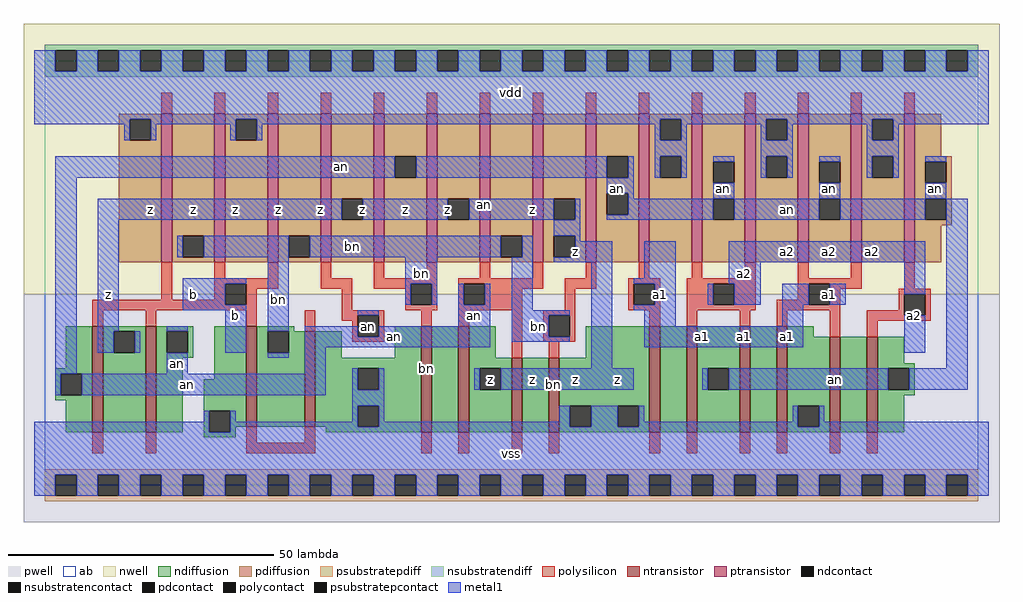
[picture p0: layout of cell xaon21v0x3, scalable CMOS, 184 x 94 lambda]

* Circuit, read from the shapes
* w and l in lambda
.subckt xaon21v0x3 a1 a2 an b bn vdd vss z
M1 z b an vss nfet w=20 l=2 m=2
M2 bn b vss vss nfet w=19 l=2
M3 vss b bn vss nfet w=18 l=2
M4 n1 bn vss vss nfet w=20 l=2
M5 z an n1 vss nfet w=20 l=2
M6 n2 an z vss nfet w=14 l=2
M7 vss bn n2 vss nfet w=14 l=2
M8 n3 a1 vss vss nfet w=20 l=2
M9 an a2 n3 vss nfet w=20 l=2
M10 n4 a2 an vss nfet w=20 l=2
M11 vss a1 n4 vss nfet w=20 l=2
M12 n5 a1 vss vss nfet w=18 l=2
M13 an a2 n5 vss nfet w=18 l=2
M14 bn b vdd vdd pfet w=28 l=2 m=3
M15 z an bn vdd pfet w=28 l=2 m=3
M16 an bn z vdd pfet w=28 l=2 m=3
M17 vdd a1 an vdd pfet w=28 l=2 m=3
M18 an a2 vdd vdd pfet w=28 l=2 m=3
.ends

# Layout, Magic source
magic
tech scmos
<< ab >>
rect 0 0 176 80
<< pwell >>
rect -4 -7 180 36
<< nwell >>
rect -4 36 180 87
<< polysilicon >>
rect 22 70 24 74
rect 32 70 34 74
rect 42 70 44 74
rect 52 70 54 74
rect 62 70 64 74
rect 72 70 74 74
rect 82 70 84 74
rect 92 70 94 74
rect 102 70 104 74
rect 112 70 114 74
rect 122 70 124 74
rect 132 70 134 74
rect 142 70 144 74
rect 152 70 154 74
rect 162 70 164 74
rect 22 35 24 42
rect 32 39 34 42
rect 42 39 44 42
rect 32 38 44 39
rect 32 35 34 38
rect 9 34 34 35
rect 38 37 44 38
rect 52 39 54 42
rect 62 39 64 42
rect 72 39 74 42
rect 82 39 84 42
rect 92 39 94 42
rect 102 39 104 42
rect 112 39 114 42
rect 122 39 124 42
rect 132 39 134 42
rect 52 37 58 39
rect 62 38 74 39
rect 62 37 69 38
rect 38 34 40 37
rect 9 33 40 34
rect 56 33 58 37
rect 68 34 69 37
rect 73 34 74 38
rect 68 33 74 34
rect 78 38 94 39
rect 78 34 79 38
rect 83 37 94 38
rect 98 37 104 39
rect 110 38 116 39
rect 83 34 90 37
rect 78 33 90 34
rect 98 33 100 37
rect 110 34 111 38
rect 115 34 116 38
rect 110 33 116 34
rect 9 30 11 33
rect 19 30 21 33
rect 38 30 40 33
rect 49 29 51 33
rect 56 32 64 33
rect 56 31 59 32
rect 58 28 59 31
rect 63 28 64 32
rect 71 30 73 33
rect 78 30 80 33
rect 58 27 64 28
rect 9 6 11 10
rect 19 6 21 10
rect 38 8 40 11
rect 49 8 51 11
rect 88 24 90 33
rect 94 32 100 33
rect 94 28 95 32
rect 99 28 100 32
rect 114 30 116 33
rect 121 38 134 39
rect 121 34 126 38
rect 130 34 134 38
rect 142 39 144 42
rect 152 39 154 42
rect 142 38 154 39
rect 142 35 144 38
rect 121 33 134 34
rect 138 34 144 35
rect 148 37 154 38
rect 162 37 164 42
rect 148 34 150 37
rect 138 33 150 34
rect 161 36 167 37
rect 161 33 162 36
rect 121 30 123 33
rect 131 30 133 33
rect 138 30 140 33
rect 94 27 100 28
rect 95 24 97 27
rect 148 28 150 33
rect 155 32 162 33
rect 166 32 167 36
rect 155 31 167 32
rect 155 28 157 31
rect 38 6 51 8
rect 71 6 73 10
rect 78 6 80 10
rect 88 6 90 10
rect 95 6 97 10
rect 114 6 116 10
rect 121 6 123 10
rect 131 6 133 10
rect 138 6 140 10
rect 148 6 150 10
rect 155 6 157 10
<< ndiffusion >>
rect 4 22 9 30
rect 2 21 9 22
rect 2 17 3 21
rect 7 17 9 21
rect 2 16 9 17
rect 4 10 9 16
rect 11 29 19 30
rect 11 25 13 29
rect 17 25 19 29
rect 11 10 19 25
rect 21 29 28 30
rect 21 25 23 29
rect 27 25 28 29
rect 21 24 28 25
rect 21 10 26 24
rect 32 20 38 30
rect 30 14 38 20
rect 30 10 31 14
rect 35 11 38 14
rect 40 29 47 30
rect 40 25 42 29
rect 46 25 49 29
rect 40 11 49 25
rect 51 24 56 29
rect 66 24 71 30
rect 51 22 71 24
rect 51 18 59 22
rect 63 18 71 22
rect 51 15 71 18
rect 51 11 59 15
rect 63 11 71 15
rect 35 10 36 11
rect 30 9 36 10
rect 53 10 71 11
rect 73 10 78 30
rect 80 24 85 30
rect 102 24 114 30
rect 80 22 88 24
rect 80 18 82 22
rect 86 18 88 22
rect 80 10 88 18
rect 90 10 95 24
rect 97 15 114 24
rect 97 11 99 15
rect 103 11 108 15
rect 112 11 114 15
rect 97 10 114 11
rect 116 10 121 30
rect 123 22 131 30
rect 123 18 125 22
rect 129 18 131 22
rect 123 10 131 18
rect 133 10 138 30
rect 140 28 145 30
rect 140 15 148 28
rect 140 11 142 15
rect 146 11 148 15
rect 140 10 148 11
rect 150 10 155 28
rect 157 23 162 28
rect 157 22 164 23
rect 157 18 159 22
rect 163 18 164 22
rect 157 17 164 18
rect 157 10 162 17
<< pdiffusion >>
rect 14 69 22 70
rect 14 65 16 69
rect 20 65 22 69
rect 14 42 22 65
rect 24 47 32 70
rect 24 43 26 47
rect 30 43 32 47
rect 24 42 32 43
rect 34 69 42 70
rect 34 65 36 69
rect 40 65 42 69
rect 34 42 42 65
rect 44 47 52 70
rect 44 43 46 47
rect 50 43 52 47
rect 44 42 52 43
rect 54 54 62 70
rect 54 50 56 54
rect 60 50 62 54
rect 54 42 62 50
rect 64 62 72 70
rect 64 58 66 62
rect 70 58 72 62
rect 64 42 72 58
rect 74 54 82 70
rect 74 50 76 54
rect 80 50 82 54
rect 74 42 82 50
rect 84 47 92 70
rect 84 43 86 47
rect 90 43 92 47
rect 84 42 92 43
rect 94 54 102 70
rect 94 50 96 54
rect 100 50 102 54
rect 94 47 102 50
rect 94 43 96 47
rect 100 43 102 47
rect 94 42 102 43
rect 104 62 112 70
rect 104 58 106 62
rect 110 58 112 62
rect 104 55 112 58
rect 104 51 106 55
rect 110 51 112 55
rect 104 42 112 51
rect 114 69 122 70
rect 114 65 116 69
rect 120 65 122 69
rect 114 62 122 65
rect 114 58 116 62
rect 120 58 122 62
rect 114 42 122 58
rect 124 61 132 70
rect 124 57 126 61
rect 130 57 132 61
rect 124 54 132 57
rect 124 50 126 54
rect 130 50 132 54
rect 124 42 132 50
rect 134 69 142 70
rect 134 65 136 69
rect 140 65 142 69
rect 134 62 142 65
rect 134 58 136 62
rect 140 58 142 62
rect 134 42 142 58
rect 144 61 152 70
rect 144 57 146 61
rect 150 57 152 61
rect 144 54 152 57
rect 144 50 146 54
rect 150 50 152 54
rect 144 42 152 50
rect 154 69 162 70
rect 154 65 156 69
rect 160 65 162 69
rect 154 62 162 65
rect 154 58 156 62
rect 160 58 162 62
rect 154 42 162 58
rect 164 62 169 70
rect 164 61 171 62
rect 164 57 166 61
rect 170 57 171 61
rect 164 54 171 57
rect 164 50 166 54
rect 170 50 171 54
rect 164 49 171 50
rect 164 42 169 49
<< metal1 >>
rect -2 78 2 82
rect 6 78 10 82
rect 14 78 18 82
rect 22 78 26 82
rect 30 78 34 82
rect 38 78 42 82
rect 46 78 50 82
rect 54 78 58 82
rect 62 78 66 82
rect 70 78 74 82
rect 78 78 82 82
rect 86 78 90 82
rect 94 78 98 82
rect 102 78 106 82
rect 110 78 114 82
rect 118 78 122 82
rect 126 78 130 82
rect 134 78 138 82
rect 142 78 146 82
rect 150 78 154 82
rect 158 78 162 82
rect 166 78 170 82
rect 174 78 178 82
rect -2 69 178 78
rect -2 68 16 69
rect 15 65 16 68
rect 20 68 36 69
rect 20 65 21 68
rect 35 65 36 68
rect 40 68 116 69
rect 40 65 41 68
rect 115 65 116 68
rect 120 68 136 69
rect 120 65 121 68
rect 115 62 121 65
rect 135 65 136 68
rect 140 68 156 69
rect 140 65 141 68
rect 135 62 141 65
rect 155 65 156 68
rect 160 68 178 69
rect 160 65 161 68
rect 155 62 161 65
rect 2 58 66 62
rect 70 58 106 62
rect 110 58 111 62
rect 115 58 116 62
rect 120 58 121 62
rect 126 61 130 62
rect 2 21 6 58
rect 106 55 111 58
rect 10 50 56 54
rect 60 50 76 54
rect 80 50 96 54
rect 100 50 101 54
rect 110 54 111 55
rect 135 58 136 62
rect 140 58 141 62
rect 146 61 150 62
rect 126 54 130 57
rect 155 58 156 62
rect 160 58 161 62
rect 166 61 170 62
rect 146 54 150 57
rect 166 54 170 57
rect 110 51 126 54
rect 106 50 126 51
rect 130 50 146 54
rect 150 50 166 54
rect 10 29 14 50
rect 96 47 101 50
rect 25 43 26 47
rect 30 43 46 47
rect 50 43 86 47
rect 90 43 92 47
rect 26 38 38 39
rect 26 34 34 38
rect 26 33 38 34
rect 23 29 27 30
rect 10 25 13 29
rect 17 25 18 29
rect 34 25 38 33
rect 42 29 46 43
rect 68 38 74 43
rect 68 34 69 38
rect 73 34 74 38
rect 78 34 79 38
rect 83 34 84 38
rect 59 32 63 33
rect 23 21 27 25
rect 42 24 46 25
rect 49 28 59 30
rect 78 30 84 34
rect 63 28 84 30
rect 49 26 84 28
rect 88 33 92 43
rect 100 46 101 47
rect 100 43 107 46
rect 96 42 107 43
rect 88 32 99 33
rect 88 28 95 32
rect 88 27 99 28
rect 49 21 53 26
rect 103 22 107 42
rect 113 39 119 46
rect 111 38 119 39
rect 129 42 166 46
rect 129 38 135 42
rect 115 34 119 38
rect 125 34 126 38
rect 130 34 135 38
rect 139 34 144 38
rect 148 34 151 38
rect 162 36 166 42
rect 111 33 119 34
rect 113 30 119 33
rect 139 30 143 34
rect 113 26 143 30
rect 162 25 166 32
rect 170 22 174 54
rect 2 17 3 21
rect 7 17 53 21
rect 58 18 59 22
rect 63 18 64 22
rect 81 18 82 22
rect 86 18 111 22
rect 124 18 125 22
rect 129 18 159 22
rect 163 18 174 22
rect 58 15 64 18
rect 30 12 31 14
rect -2 10 31 12
rect 35 12 36 14
rect 58 12 59 15
rect 35 11 59 12
rect 63 12 64 15
rect 97 12 99 15
rect 63 11 99 12
rect 103 11 108 15
rect 112 12 113 15
rect 141 12 142 15
rect 112 11 142 12
rect 146 12 147 15
rect 146 11 178 12
rect 35 10 178 11
rect -2 2 178 10
rect -2 -2 2 2
rect 6 -2 10 2
rect 14 -2 18 2
rect 22 -2 26 2
rect 30 -2 34 2
rect 38 -2 42 2
rect 46 -2 50 2
rect 54 -2 58 2
rect 62 -2 66 2
rect 70 -2 74 2
rect 78 -2 82 2
rect 86 -2 90 2
rect 94 -2 98 2
rect 102 -2 106 2
rect 110 -2 114 2
rect 118 -2 122 2
rect 126 -2 130 2
rect 134 -2 138 2
rect 142 -2 146 2
rect 150 -2 154 2
rect 158 -2 162 2
rect 166 -2 170 2
rect 174 -2 178 2
<< ntransistor >>
rect 9 10 11 30
rect 19 10 21 30
rect 38 11 40 30
rect 49 11 51 29
rect 71 10 73 30
rect 78 10 80 30
rect 88 10 90 24
rect 95 10 97 24
rect 114 10 116 30
rect 121 10 123 30
rect 131 10 133 30
rect 138 10 140 30
rect 148 10 150 28
rect 155 10 157 28
<< ptransistor >>
rect 22 42 24 70
rect 32 42 34 70
rect 42 42 44 70
rect 52 42 54 70
rect 62 42 64 70
rect 72 42 74 70
rect 82 42 84 70
rect 92 42 94 70
rect 102 42 104 70
rect 112 42 114 70
rect 122 42 124 70
rect 132 42 134 70
rect 142 42 144 70
rect 152 42 154 70
rect 162 42 164 70
<< polycontact >>
rect 34 34 38 38
rect 69 34 73 38
rect 79 34 83 38
rect 111 34 115 38
rect 59 28 63 32
rect 95 28 99 32
rect 126 34 130 38
rect 144 34 148 38
rect 162 32 166 36
<< ndcontact >>
rect 3 17 7 21
rect 13 25 17 29
rect 23 25 27 29
rect 31 10 35 14
rect 42 25 46 29
rect 59 18 63 22
rect 59 11 63 15
rect 82 18 86 22
rect 99 11 103 15
rect 108 11 112 15
rect 125 18 129 22
rect 142 11 146 15
rect 159 18 163 22
<< pdcontact >>
rect 16 65 20 69
rect 26 43 30 47
rect 36 65 40 69
rect 46 43 50 47
rect 56 50 60 54
rect 66 58 70 62
rect 76 50 80 54
rect 86 43 90 47
rect 96 50 100 54
rect 96 43 100 47
rect 106 58 110 62
rect 106 51 110 55
rect 116 65 120 69
rect 116 58 120 62
rect 126 57 130 61
rect 126 50 130 54
rect 136 65 140 69
rect 136 58 140 62
rect 146 57 150 61
rect 146 50 150 54
rect 156 65 160 69
rect 156 58 160 62
rect 166 57 170 61
rect 166 50 170 54
<< psubstratepcontact >>
rect 2 -2 6 2
rect 10 -2 14 2
rect 18 -2 22 2
rect 26 -2 30 2
rect 34 -2 38 2
rect 42 -2 46 2
rect 50 -2 54 2
rect 58 -2 62 2
rect 66 -2 70 2
rect 74 -2 78 2
rect 82 -2 86 2
rect 90 -2 94 2
rect 98 -2 102 2
rect 106 -2 110 2
rect 114 -2 118 2
rect 122 -2 126 2
rect 130 -2 134 2
rect 138 -2 142 2
rect 146 -2 150 2
rect 154 -2 158 2
rect 162 -2 166 2
rect 170 -2 174 2
<< nsubstratencontact >>
rect 2 78 6 82
rect 10 78 14 82
rect 18 78 22 82
rect 26 78 30 82
rect 34 78 38 82
rect 42 78 46 82
rect 50 78 54 82
rect 58 78 62 82
rect 66 78 70 82
rect 74 78 78 82
rect 82 78 86 82
rect 90 78 94 82
rect 98 78 102 82
rect 106 78 110 82
rect 114 78 118 82
rect 122 78 126 82
rect 130 78 134 82
rect 138 78 142 82
rect 146 78 150 82
rect 154 78 158 82
rect 162 78 166 82
rect 170 78 174 82
<< psubstratepdiff >>
rect 0 2 176 3
rect 0 -2 2 2
rect 6 -2 10 2
rect 14 -2 18 2
rect 22 -2 26 2
rect 30 -2 34 2
rect 38 -2 42 2
rect 46 -2 50 2
rect 54 -2 58 2
rect 62 -2 66 2
rect 70 -2 74 2
rect 78 -2 82 2
rect 86 -2 90 2
rect 94 -2 98 2
rect 102 -2 106 2
rect 110 -2 114 2
rect 118 -2 122 2
rect 126 -2 130 2
rect 134 -2 138 2
rect 142 -2 146 2
rect 150 -2 154 2
rect 158 -2 162 2
rect 166 -2 170 2
rect 174 -2 176 2
rect 0 -3 176 -2
<< nsubstratendiff >>
rect 0 82 176 83
rect 0 78 2 82
rect 6 78 10 82
rect 14 78 18 82
rect 22 78 26 82
rect 30 78 34 82
rect 38 78 42 82
rect 46 78 50 82
rect 54 78 58 82
rect 62 78 66 82
rect 70 78 74 82
rect 78 78 82 82
rect 86 78 90 82
rect 94 78 98 82
rect 102 78 106 82
rect 110 78 114 82
rect 118 78 122 82
rect 126 78 130 82
rect 134 78 138 82
rect 142 78 146 82
rect 150 78 154 82
rect 158 78 162 82
rect 166 78 170 82
rect 174 78 176 82
rect 0 77 176 78
<< labels >>
rlabel ntransistor 72 22 72 22 6 bn
rlabel polycontact 61 30 61 30 6 an
rlabel ptransistor 83 53 83 53 6 an
rlabel ntransistor 96 19 96 19 6 bn
rlabel metal1 25 23 25 23 6 an
rlabel metal1 12 36 12 36 6 z
rlabel metal1 20 52 20 52 6 z
rlabel metal1 27 19 27 19 6 an
rlabel metal1 28 36 28 36 6 b
rlabel metal1 36 32 36 32 6 b
rlabel metal1 44 35 44 35 6 bn
rlabel metal1 28 52 28 52 6 z
rlabel metal1 36 52 36 52 6 z
rlabel metal1 52 52 52 52 6 z
rlabel metal1 44 52 44 52 6 z
rlabel ndcontact 84 20 84 20 6 z
rlabel metal1 81 32 81 32 6 an
rlabel metal1 66 28 66 28 6 an
rlabel metal1 71 40 71 40 6 bn
rlabel metal1 60 52 60 52 6 z
rlabel metal1 68 52 68 52 6 z
rlabel metal1 84 52 84 52 6 z
rlabel metal1 76 52 76 52 6 z
rlabel metal1 88 6 88 6 6 vss
rlabel metal1 92 20 92 20 6 z
rlabel metal1 108 20 108 20 6 z
rlabel metal1 100 20 100 20 6 z
rlabel metal1 93 30 93 30 6 bn
rlabel metal1 116 36 116 36 6 a1
rlabel metal1 100 44 100 44 6 z
rlabel metal1 92 52 92 52 6 z
rlabel metal1 58 45 58 45 6 bn
rlabel metal1 108 56 108 56 6 an
rlabel metal1 56 60 56 60 6 an
rlabel metal1 88 74 88 74 6 vdd
rlabel metal1 140 28 140 28 6 a1
rlabel metal1 132 28 132 28 6 a1
rlabel metal1 124 28 124 28 6 a1
rlabel metal1 140 44 140 44 6 a2
rlabel metal1 132 40 132 40 6 a2
rlabel metal1 128 56 128 56 6 an
rlabel metal1 149 20 149 20 6 an
rlabel metal1 148 36 148 36 6 a1
rlabel metal1 164 32 164 32 6 a2
rlabel metal1 156 44 156 44 6 a2
rlabel metal1 148 44 148 44 6 a2
rlabel metal1 140 52 140 52 6 an
rlabel metal1 168 56 168 56 6 an
rlabel metal1 148 56 148 56 6 an
<< end >>
